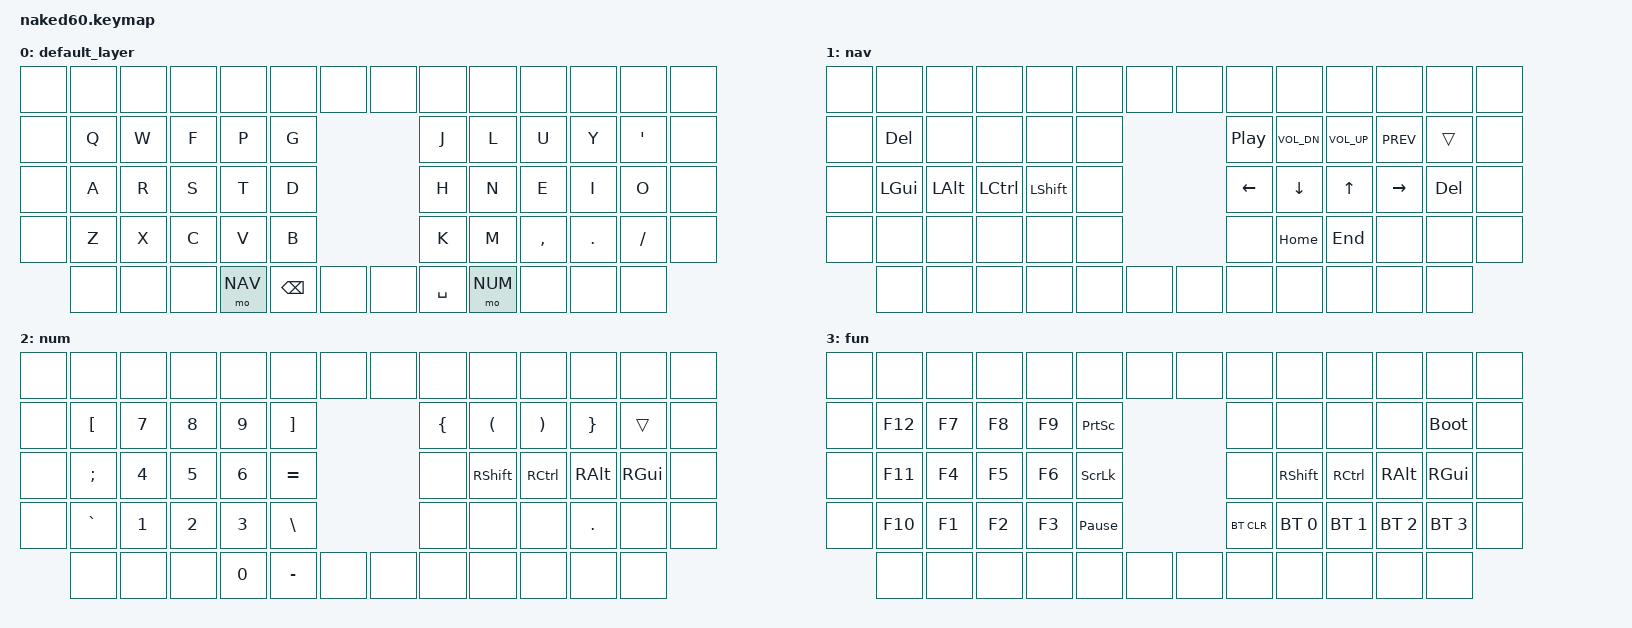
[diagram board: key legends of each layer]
/*
 * Copyright (c) 2020 The ZMK Contributors
 *
 * SPDX-License-Identifier: MIT
 */

#include <behaviors.dtsi>
#include <dt-bindings/zmk/keys.h>
#include <dt-bindings/zmk/bt.h>

#define             BASE    0
#define             NAV     1
#define             NUM     2
#define             FUN     3

#define VOL_U       &kp C_VOL_UP
#define VOL_D       &kp C_VOL_DN
#define PB          &kp PAUSE_BREAK

#define BT0         &bt BT_SEL 0
#define BT1         &bt BT_SEL 1
#define BT2         &bt BT_SEL 2
#define BT3         &bt BT_SEL 3

&kscan0 {
    debounce-press-ms = <12>;
    debounce-release-ms = <12>;
};

&mt {
    tapping-term-ms = <185>;
    quick-tap-ms = <185>;
};

&lt {
    flavor = "balanced";
    tapping-term-ms = <185>;
    quick-tap-ms = <185>;
};

&sl {
    quick-release;
};


&caps_word {
    continue-list = <UNDERSCORE MINUS BACKSPACE>;
};

/ { 
        combos {
            compatible = "zmk,combos";

            combo_esc {
                timeout-ms = <30>;
                key-positions = <14 15>;
                bindings = <&kp ESC>;
                layers = <NAV NUM>;
            };

            combo_esc_base {
                timeout-ms = <30>;
                key-positions = <14 26>;
                bindings = <&kp ESC>;
                layers = <BASE>;
            };

            combo_tab {
                timeout-ms = <30>;
                key-positions = <15 16>;
                bindings = <&kp TAB>;
                layers = <NUM>;
            };

            combo_tab_base {
                timeout-ms = <30>;
                key-positions = <16 28>;
                bindings = <&kp TAB>;
                layers = <BASE>;
            };

            combo_ret {
                timeout-ms = <30>;
                key-positions = <20 21>;
                bindings = <&kp RET>;
                layers = <NAV NUM>;
            };

            combo_ret_base {
                timeout-ms = <30>;
                key-positions = <16 26>;
                bindings = <&kp RET>;
                layers = <BASE>;
            };

            combo_caps_word {
                timeout-ms = <50>;
                key-positions = <5 17>;
                bindings = <&caps_word>;
                layers = <NUM>;
            };

            // layer combos
            combo_fun {
                timeout-ms = <50>;
                key-positions = <39 44>;
                bindings = <&mo FUN>;
                layers = <BASE>;
            };

            // layer combos
            combo_home {
                timeout-ms = <50>;
                key-positions = <25 26>;
                bindings = <&kp HOME>;
                layers = <NAV NUM>;
            };

            // layer combos
            combo_end {
                timeout-ms = <50>;
                key-positions = <26 27>;
                bindings = <&kp END>;
                layers = <NAV NUM>;
            };

        };

        keymap {
            compatible = "zmk,keymap";

            default_layer {
            bindings = <
                &none   &none       &none       &none       &none       &none       &none       &none   &none       &none       &none       &none       &none       &none 
                &none   &kp Q       &kp W       &kp F       &kp P       &kp G       /**/        /**/    &kp J       &kp L       &kp U       &kp Y       &kp SQT     &none
                &none   &kp A       &kp R       &kp S       &kp T       &kp D       /**/        /**/    &kp H       &kp N       &kp E       &kp I       &kp O       &none
                &none   &kp Z       &kp X       &kp C       &kp V       &kp B       /**/        /**/    &kp K       &kp M       &kp COMMA   &kp DOT     &kp SLASH   &none
                        &none       &none       &none       &mo NAV     &kp BSPC    &none       &none   &kp SPC     &mo NUM     &none       &none       &none
            >;
            };

            nav {
            bindings = <
                &none   &none       &none       &none       &none       &none       &none       &none   &none       &none       &none       &none       &none       &none 
                &none   &kp DEL     &none       &none       &none       &none       /**/        /**/    &kp C_PP    VOL_D       VOL_U       &kp C_PREV  &trans      &none
                &none   &kp LGUI    &kp LALT    &kp LCTRL   &kp LSHFT   &none       /**/        /**/    &kp LEFT    &kp DOWN    &kp UP      &kp RIGHT   &kp DEL     &none
                &none   &none       &none       &none       &none       &none       /**/        /**/    &none       &kp HOME    &kp END     &none       &none       &none
                        &none       &none       &none       &none       &none       &none       &none   &none       &none       &none       &none       &none
            >;
            };

            num {
            bindings = <
                &none   &none       &none       &none       &none       &none       &none       &none   &none       &none       &none       &none       &none       &none 
                &none   &kp LBKT    &kp N7      &kp N8      &kp N9      &kp RBKT    /**/        /**/  	&kp LBRC    &kp LPAR    &kp RPAR    &kp RBRC    &trans      &none
                &none   &kp SEMI    &kp N4      &kp N5      &kp N6      &kp EQUAL   /**/        /**/    &none       &kp RSHFT   &kp RCTRL   &kp RALT    &kp RGUI    &none
                &none   &kp GRAVE   &kp N1      &kp N2      &kp N3      &kp BSLH    /**/        /**/    &none       &none       &none       &kp DOT     &none       &none
                        &none       &none       &none       &kp N0      &kp MINUS   &none       &none   &none       &none       &none       &none       &none
            >;
            };	

            fun {
            bindings = <
                &none   &none       &none       &none       &none       &none       &none       &none   &none       &none       &none       &none       &none       &none 
                &none   &kp F12     &kp F7      &kp F8      &kp F9      &kp PSCRN   /**/        /**/    &none       &none       &none       &none       &bootloader &none
                &none   &kp F11     &kp F4      &kp F5      &kp F6      &kp SLCK    /**/        /**/    &none       &kp RSHFT   &kp RCTRL   &kp RALT    &kp RGUI    &none
                &none   &kp F10     &kp F1      &kp F2      &kp F3      PB          /**/        /**/    &bt BT_CLR  BT0         BT1         BT2         BT3         &none
                        &none       &none       &none       &none       &none       &none       &none   &none       &none       &none       &none       &none
            >;
            };

    };
};
